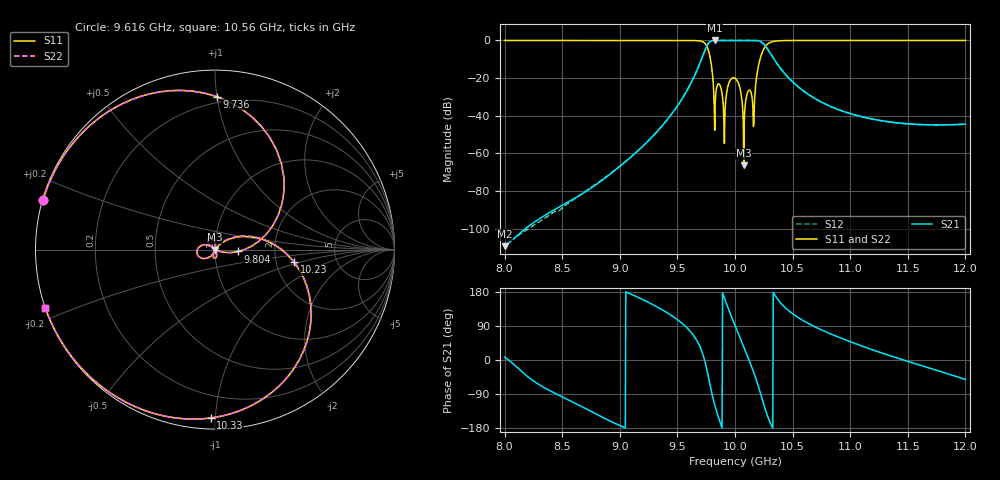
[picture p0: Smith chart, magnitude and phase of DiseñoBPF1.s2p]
! TOUCHSTONE file generated by CST MICROWAVE STUDIO
! Date and time: Sat Oct  4 18:51:12 2025
! Project name: DiseñoBPF.cst
! Parameters = {L=20; Lc1=19.0311; Lc2=21.4361; a=19.05; b=9.525; t=1.5; w1=11.7375; w2=8.46096; w3=7.78789}
! Header version: 2024
! Port assignment regex: !\s*Touchstone port\s*([0-9]+)\s*=\s*(CST MWS port|CST DES external port|CST DES block port)\s*(.+)\s* \(\"(.*)\"\)(\s*mode\s*([0-9]+))?.*
! Touchstone port assignment:
! Touchstone port 1 = CST MWS port 1 ("")
! Touchstone port 2 = CST MWS port 2 ("")
! S-Parameters are not renormalized. Unphysical impedance of 498.97 will be written to the file.
# GHz S MA R 498.97
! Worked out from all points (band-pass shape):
!   1001 points, 8 GHz to 12 GHz, reference per port
!   highest |S21| = 0.00 dB at 9.824 GHz (marker M1); lowest = -109.2 dB at 8 GHz (marker M2)
!   |S21| within 3 dB of the highest: 9.755 GHz to 10.26 GHz (509.9 MHz wide, 5.09 % of centre)
!   lowest |S11| = -66.3 dB at 10.08 GHz (marker M3), VSWR 1.00
!   |S11| at or under -10 dB: 9.787 GHz to 10.22 GHz (430.4 MHz wide, 4.3 % of centre)
!   |S22| runs from -61.8 to 0.0 dB; largest |S21 - S12| = 0.00064
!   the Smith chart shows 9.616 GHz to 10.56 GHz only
!   S11 on the Smith chart (normalised r, x): 9.616 GHz: 0.00, +0.14; 9.736 GHz: 0.16, +1.00; 9.804 GHz: 1.30, -0.03; 10.23 GHz: 2.52, -0.44; 10.33 GHz: 0.06, -0.97; 10.56 GHz: 0.00, -0.17
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8  1 97.3  3.466e-06 7.3  3.465e-06 7.3  1 97.3
8.308  1 26.1  1.906e-05 -66.5  1.592e-05 -61.9  1 26.1
8.668  1 -32.7  8.306e-05 -122.7  8.367e-05 -122.4  1 -32.7
9.016  1 -83.0  0.0004984 -175.1  0.0005054 -172.6  1 -83.0
9.336  1 -131.8  0.004198 138.1  0.004196 138.2  1 -131.8
9.616  0.9973 164.0  0.07218 74.1  0.07216 74.1  0.9974 164.1
9.736  0.8529 89.4  0.5219 -0.6  0.5216 -0.6  0.8526 89.5
9.768  0.5565 46.4  0.8308 -43.6  0.8305 -43.6  0.5567 46.5
9.804  0.1296 -4.7  0.9916 -94.8  0.9916 -94.8  0.1295 -4.9
9.824  0.004126 143.1  1 -118.4  1 -118.4  0.00402 156.0
9.864  0.06858 111.3  0.9976 -158.0  0.9977 -158.0  0.06859 112.7
9.9  0.01502 76.8  0.9999 170.2  0.9999 170.2  0.01491 84.3
10  0.09957 -178.3  0.995 91.3  0.9952 91.3  0.09955 -179.1
10.076  0.0004827 -129.6  0.9998 34.6  1 34.6  0.0008136 -120.1
10.116  0.04605 -85.1  0.9989 4.3  0.9991 4.3  0.04627 -86.8
10.164  0.006414 45.2  1 -33.9  1 -33.9  0.006412 67.3
10.232  0.4458 -9.1  0.8949 -99.0  0.895 -99.0  0.4458 -8.7
10.332  0.9384 -91.5  0.3444 178.5  0.3443 178.5  0.9384 -91.5
10.564  0.9995 -161.0  0.05377 109.1  0.05389 109.1  0.9994 -161.0
10.668  1 -178.6  0.03205 91.5  0.03216 91.4  1 -178.7
11.336  0.9999 102.6  0.00691 12.3  0.006913 12.6  0.9997 102.5
12  1 38.7  0.005994 -51.4  0.005994 -51.4  1 38.6
